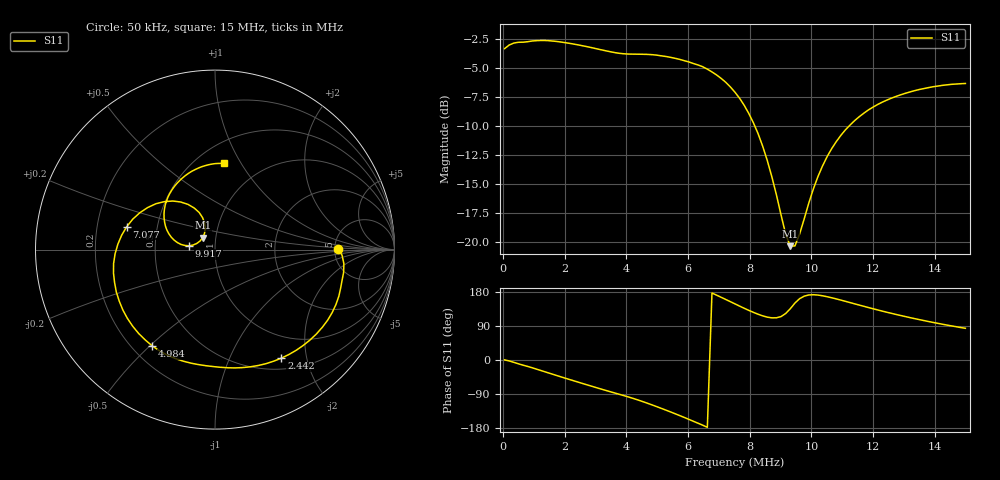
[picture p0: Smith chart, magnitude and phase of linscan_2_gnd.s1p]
# Hz S RI R 50
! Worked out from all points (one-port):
!   101 points, 50 kHz to 15 MHz, reference 50 ohm
!   lowest |S11| = -20.4 dB at 9.319 MHz (marker M1), VSWR 1.21, Z = 43.3 + j5.87 ohm
!   |S11| at or under -10 dB: 8.168 MHz to 11.23 MHz (3.059 MHz wide, 31.5 % of centre)
!   S11 on the Smith chart (normalised r, x): 50 kHz: 5.32, +0.07; 2.442 MHz: 0.65, -1.59; 4.984 MHz: 0.28, -0.51; 7.077 MHz: 0.33, +0.11; 9.917 MHz: 0.75, +0.03; 15 MHz: 0.68, +0.85
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50000  0.6835 0.00364
349000  0.718 -0.078
947000  0.6902 -0.2592
1395500  0.6274 -0.3937
1993500  0.4914 -0.5341
2442000  0.3698 -0.6048
3040000  0.1966 -0.6531
3787500  -0.0104 -0.6516
4385500  -0.1753 -0.6221
4983500  -0.3491 -0.5369
5731000  -0.513 -0.3371
6030000  -0.5498 -0.2361
6478500  -0.565 -0.0784
7076500  -0.4917 0.1276
7525000  -0.3756 0.2341
7973500  -0.2347 0.2707
8571500  -0.0881 0.2066
8870500  -0.058 0.1483
9169500  -0.0584 0.0907
9319000  -0.0681 0.0673
9468500  -0.0833 0.0477
9917000  -0.1451 0.0214
1.0515e7  -0.2274 0.0526
1.12625e7  -0.2809 0.1531
1.21595e7  -0.2625 0.2916
1.3206e7  -0.1651 0.4124
1.4103e7  -0.0556 0.4675
1.5e7  0.0528 0.4802
